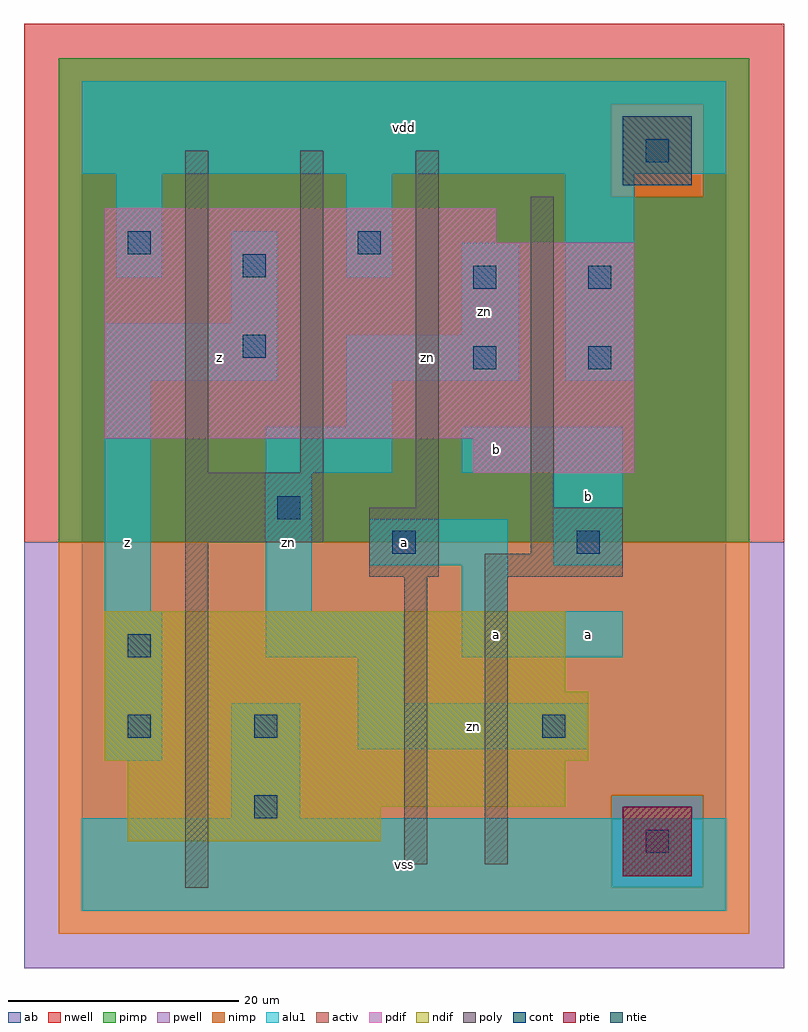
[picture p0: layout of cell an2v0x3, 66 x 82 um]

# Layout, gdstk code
import gdstk
lib = gdstk.Library(unit=1e-6, precision=1e-09)
def R(c, l, rs):  # rectangles x0, y0, x1, y1
    for r in rs: c.add(gdstk.rectangle(r[:2], r[2:], *l))
ndif = (3, 0)
pdif = (4, 0)
ntie = (5, 0)
ptie = (6, 0)
cont = (25, 0)
pwell = (41, 0)
nwell = (42, 0)
activ = (43, 0)
pimp = (44, 0)
nimp = (45, 0)
poly = (46, 0)
alu1 = (49, 0)
ab = (63, 0)

an2v0x3 = lib.new_cell('an2v0x3')
R(an2v0x3, ndif, [(4,6,26,9), (4,9,42,13), (2,13,44,19), (2,19,42,26)])
R(an2v0x3, pdif, [(34,38,48,41), (2,41,48,58), (2,58,36,61)])
R(an2v0x3, ntie, [(47,63,53,69)])
R(an2v0x3, ptie, [(47,3,53,9)])
R(an2v0x3, cont, [(49,5,51,7), (15,8,17,10), (4,15,6,17), (15,15,17,17), (40,15,42,17), (4,22,6,24), (27,31,29,33), (43,31,45,33), (17,34,19,36), (34,47,36,49), (44,47,46,49), (14,48,16,50), (34,54,36,56), (44,54,46,56), (14,55,16,57), (4,57,6,59), (24,57,26,59), (49,65,51,67)])
R(an2v0x3, pwell, [(-5,-5,61,32)])
R(an2v0x3, nwell, [(-5,32,61,77)])
R(an2v0x3, activ, [(47,3,53,9), (4,6,26,9), (4,9,42,13), (2,13,44,19), (2,19,42,26), (34,38,48,41), (2,41,48,58), (2,58,36,61), (47,63,53,69)])
R(an2v0x3, pimp, [(46,2,54,10), (-2,32,58,62), (-2,62,46,70), (54,62,58,70), (-2,70,58,74)])
R(an2v0x3, nimp, [(-2,-2,58,2), (-2,2,46,10), (54,2,58,10), (-2,10,58,32), (46,62,54,70)])
R(an2v0x3, poly, [(9,2,11,32), (28,4,30,29), (35,4,37,29), (25,29,31,35), (35,29,47,31), (39,31,47,35), (9,32,21,38), (29,35,31,66), (39,35,41,62), (9,38,11,66), (19,38,21,66)])
R(an2v0x3, alu1, [(0,0,56,8), (13,8,19,18), (2,13,7,26), (24,14,44,18), (24,18,28,22), (16,22,28,26), (33,22,47,26), (2,26,6,46), (16,26,20,38), (33,26,37,30), (25,30,37,34), (41,30,47,38), (16,38,27,42), (33,38,47,42), (23,42,27,46), (2,46,17,51), (23,46,38,50), (42,46,48,64), (33,50,38,58), (13,51,17,59), (3,55,7,64), (23,55,27,64), (0,64,56,72)])
R(an2v0x3, ab, [(0,0,56,72)])
an2v0x3.add(gdstk.Label('zn', (18,32), layer=49, texttype=0))
an2v0x3.add(gdstk.Label('zn', (34,16), layer=49, texttype=0))
an2v0x3.add(gdstk.Label('zn', (35,52), layer=49, texttype=0))
an2v0x3.add(gdstk.Label('zn', (30,48), layer=49, texttype=0))
an2v0x3.add(gdstk.Label('z', (4,32), layer=49, texttype=0))
an2v0x3.add(gdstk.Label('z', (12,48), layer=49, texttype=0))
an2v0x3.add(gdstk.Label('vss', (28,4), layer=49, texttype=0))
an2v0x3.add(gdstk.Label('a', (28,32), layer=49, texttype=0))
an2v0x3.add(gdstk.Label('a', (36,24), layer=49, texttype=0))
an2v0x3.add(gdstk.Label('b', (36,40), layer=49, texttype=0))
an2v0x3.add(gdstk.Label('vdd', (28,68), layer=49, texttype=0))
an2v0x3.add(gdstk.Label('a', (44,24), layer=49, texttype=0))
an2v0x3.add(gdstk.Label('b', (44,36), layer=49, texttype=0))

lib.write_gds('an2v0x3.gds')
